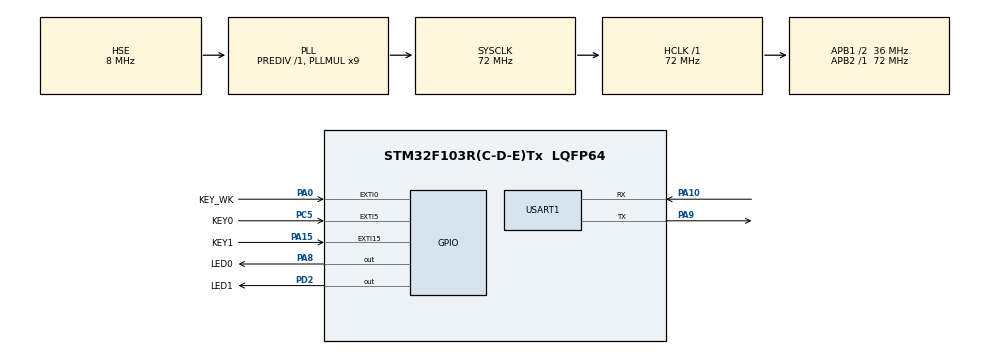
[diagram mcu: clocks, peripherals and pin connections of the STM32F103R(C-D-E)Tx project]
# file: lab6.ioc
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Mcu.Family=STM32F1
Mcu.Name=STM32F103R(C-D-E)Tx
Mcu.Package=LQFP64
NVIC.EXTI0_IRQn=true\:1\:0\:true\:false\:true\:true\:true\:true
NVIC.EXTI15_10_IRQn=true\:1\:2\:true\:false\:true\:true\:true\:true
NVIC.EXTI9_5_IRQn=true\:1\:1\:true\:false\:true\:true\:true\:true
NVIC.PriorityGroup=NVIC_PRIORITYGROUP_2
NVIC.USART1_IRQn=true\:1\:0\:true\:false\:true\:true\:true\:true
PA0-WKUP.GPIO_Label=KEY_WK
PA0-WKUP.GPIO_PuPd=GPIO_PULLDOWN
PA0-WKUP.Signal=GPXTI0
PA10.Mode=Asynchronous
PA10.Signal=USART1_RX
PA13.Mode=Serial_Wire
PA13.Signal=SYS_JTMS-SWDIO
PA14.Mode=Serial_Wire
PA14.Signal=SYS_JTCK-SWCLK
PA15.GPIO_Label=KEY1
PA15.GPIO_ModeDefaultEXTI=GPIO_MODE_IT_FALLING
PA15.GPIO_PuPd=GPIO_PULLUP
PA15.Signal=GPXTI15
PA8.GPIO_Label=LED0
PA8.Signal=GPIO_Output
PA9.Mode=Asynchronous
PA9.Signal=USART1_TX
PC5.GPIO_Label=KEY0
PC5.GPIO_ModeDefaultEXTI=GPIO_MODE_IT_FALLING
PC5.GPIO_PuPd=GPIO_PULLUP
PC5.Signal=GPXTI5
PD0-OSC_IN.Mode=HSE-External-Oscillator
PD0-OSC_IN.Signal=RCC_OSC_IN
PD1-OSC_OUT.Mode=HSE-External-Oscillator
PD1-OSC_OUT.Signal=RCC_OSC_OUT
PD2.GPIO_Label=LED1
PD2.Signal=GPIO_Output
ProjectManager.HeapSize=0x200
ProjectManager.StackSize=0x400
ProjectManager.TargetToolchain=STM32CubeIDE
RCC.AHBFreq_Value=72000000
RCC.APB1CLKDivider=RCC_HCLK_DIV2
RCC.APB1Freq_Value=36000000
RCC.APB1TimFreq_Value=72000000
RCC.APB2Freq_Value=72000000
RCC.APB2TimFreq_Value=72000000
RCC.HCLKFreq_Value=72000000
RCC.PLLMUL=RCC_PLL_MUL9
RCC.PLLSourceVirtual=RCC_PLLSOURCE_HSE
RCC.SYSCLKFreq_VALUE=72000000
RCC.SYSCLKSource=RCC_SYSCLKSOURCE_PLLCLK
RCC.USBFreq_Value=72000000
USART1.VirtualMode=VM_ASYNC
board=custom

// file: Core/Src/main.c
/* USER CODE BEGIN Header */
/**
  ******************************************************************************
  * @file           : main.c
  * @brief          : Main program body
  ******************************************************************************
  * @attention
  *
  * Copyright (c) 2023 STMicroelectronics.
  * All rights reserved.
  *
  * This software is licensed under terms that can be found in the LICENSE file
  * in the root directory of this software component.
  * If no LICENSE file comes with this software, it is provided AS-IS.
  *
  ******************************************************************************
  */
/* USER CODE END Header */
#include "main.h"
#include "usart.h"
#include "gpio.h"

/* USER CODE BEGIN Includes */
#include "lcd.h"
/* USER CODE END Includes */

void SystemClock_Config(void);

/* USER CODE BEGIN 0 */
extern UART_HandleTypeDef huart1;
extern uint8_t rxBuffer[20];
/* USER CODE END 0 */

int main(void)
{

  /* MCU Configuration--------------------------------------------------------*/

  /* Reset of all peripherals, Initializes the Flash interface and the Systick. */
  HAL_Init();

  /* Configure the system clock */
  SystemClock_Config();

  /* USER CODE BEGIN SysInit */
  LCD_Init();
  /* USER CODE END SysInit */

  /* Initialize all configured peripherals */
  MX_GPIO_Init();
  MX_USART1_UART_Init();
  /* USER CODE BEGIN 2 */
  HAL_UART_Receive_IT(&huart1, (uint8_t *)rxBuffer, 1);
  /* USER CODE END 2 */

  /* Infinite loop */
  /* USER CODE BEGIN WHILE */
  uint8_t x;
  while (1)
  {
    /* USER CODE END WHILE */

    /* USER CODE BEGIN 3 */
		switch (x) {
		  case 0: LCD_Clear(WHITE); BACK_COLOR = WHITE; break;
		  case 1: LCD_Clear(BLACK); BACK_COLOR = BLACK; break;
		  case 2: LCD_Clear(BLUE); BACK_COLOR = BLUE; break;
		  case 3: LCD_Clear(RED); BACK_COLOR = RED; break;
		  case 4: LCD_Clear(MAGENTA); BACK_COLOR = MAGENTA; break;
		  case 5: LCD_Clear(GREEN); BACK_COLOR = GREEN; break;
		  case 6: LCD_Clear(CYAN); BACK_COLOR = CYAN; break;
		  case 7: LCD_Clear(YELLOW); BACK_COLOR = YELLOW; break;
		  case 8: LCD_Clear(BRRED); BACK_COLOR = BRRED; break;
		  case 9: LCD_Clear(GRAY); BACK_COLOR = GRAY; break;
		  case 10: LCD_Clear(LGRAY); BACK_COLOR = LGRAY; break;
		  case 11: LCD_Clear(BROWN); BACK_COLOR = BROWN; break;
		}//end of switch

		POINT_COLOR = RED;
//		LCD_ShowString(30, 40, 200, 24, 24, (uint8_t*) rxBuffer);
  }
  /* USER CODE END 3 */
}

void SystemClock_Config(void)
{
  RCC_OscInitTypeDef RCC_OscInitStruct = {0};
  RCC_ClkInitTypeDef RCC_ClkInitStruct = {0};

  /** Initializes the RCC Oscillators according to the specified parameters
  * in the RCC_OscInitTypeDef structure.
  */
  RCC_OscInitStruct.OscillatorType = RCC_OSCILLATORTYPE_HSE;
  RCC_OscInitStruct.HSEState = RCC_HSE_ON;
  RCC_OscInitStruct.HSEPredivValue = RCC_HSE_PREDIV_DIV1;
  RCC_OscInitStruct.HSIState = RCC_HSI_ON;
  RCC_OscInitStruct.PLL.PLLState = RCC_PLL_ON;
  RCC_OscInitStruct.PLL.PLLSource = RCC_PLLSOURCE_HSE;
  RCC_OscInitStruct.PLL.PLLMUL = RCC_PLL_MUL9;
  if (HAL_RCC_OscConfig(&RCC_OscInitStruct) != HAL_OK)
  {
    Error_Handler();
  }

  /** Initializes the CPU, AHB and APB buses clocks
  */
  RCC_ClkInitStruct.ClockType = RCC_CLOCKTYPE_HCLK|RCC_CLOCKTYPE_SYSCLK
                              |RCC_CLOCKTYPE_PCLK1|RCC_CLOCKTYPE_PCLK2;
  RCC_ClkInitStruct.SYSCLKSource = RCC_SYSCLKSOURCE_PLLCLK;
  RCC_ClkInitStruct.AHBCLKDivider = RCC_SYSCLK_DIV1;
  RCC_ClkInitStruct.APB1CLKDivider = RCC_HCLK_DIV2;
  RCC_ClkInitStruct.APB2CLKDivider = RCC_HCLK_DIV1;

  if (HAL_RCC_ClockConfig(&RCC_ClkInitStruct, FLASH_LATENCY_2) != HAL_OK)
  {
    Error_Handler();
  }
}

void Error_Handler(void)
{
  __disable_irq();
  while (1)
  {
  }
}
